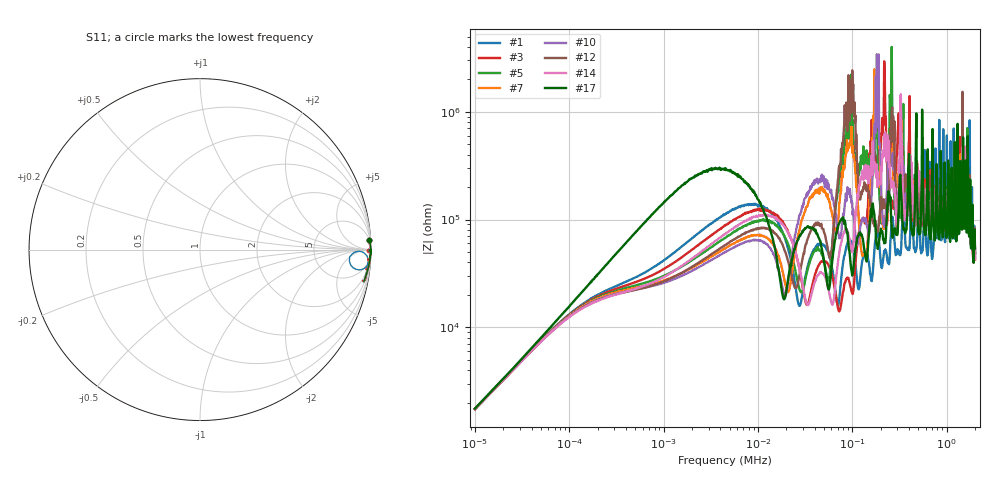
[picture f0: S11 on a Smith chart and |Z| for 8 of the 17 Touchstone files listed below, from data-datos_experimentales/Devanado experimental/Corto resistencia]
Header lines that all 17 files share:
!Agilent Technologies,E5061B,MY49204007,A.02.12
!Data & Calibration Information:
!Freq	S11:SOLT2(ON)	S21:SOLT2(ON)	S12:SOLT2(ON)	S22:SOLT2(ON)
# Hz S dB R 50
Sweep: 10 Hz to 2 MHz
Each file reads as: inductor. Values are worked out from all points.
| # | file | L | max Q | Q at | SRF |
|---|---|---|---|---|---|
| 1 | 2301.S2P | 26.7 H | 25 | 12.6 kHz | 27.44 kHz |
| 2 | 2302.S2P | 26.7 H | 23.8 | 13.57 kHz | 30.22 kHz |
| 3 | 2303.S2P | 26.6 H | 32.4 | 14.22 kHz | 32.6 kHz |
| 4 | 2304.S2P | 26.6 H | 44.3 | 14.38 kHz | 32.6 kHz |
| 5 | 2305.S2P | 26.6 H | 17.3 | 13.25 kHz | 28.67 kHz |
| 6 | 2306.S2P | 26.6 H | 14.9 | 12.76 kHz | 24.04 kHz |
| 7 | 2307.S2P | 26.6 H | 12 | 12.6 kHz | 21.11 kHz |
| 8 | 2308.S2P | 26.5 H | 9.92 | 12.11 kHz | 19.32 kHz |
| 9 | 2309.S2P | 26.5 H | 8.38 | 11.65 kHz | 18.87 kHz |
| 10 | 2310.S2P | 26.5 H | 8.81 | 11.95 kHz | 19.54 kHz |
| 11 | 2311.S2P | 26.5 H | 12.5 | 12.27 kHz | 21.78 kHz |
| 12 | 2312.S2P | 26.5 H | 17.7 | 12.92 kHz | 25.27 kHz |
| 13 | 2313.S2P | 26.5 H | 19.3 | 13.25 kHz | 29.91 kHz |
| 14 | 2314.S2P | 26.5 H | 33.6 | 14.38 kHz | 33.02 kHz |
| 15 | 2315.S2P | 26.5 H | 30.5 | 13.57 kHz | 32.17 kHz |
| 16 | 2316.S2P | 26.5 H | 27.1 | 13.08 kHz | 29.6 kHz |
| 17 | 2317.S2P | 27.2 H | 29.3 | 177.8 Hz | 18.87 kHz |
